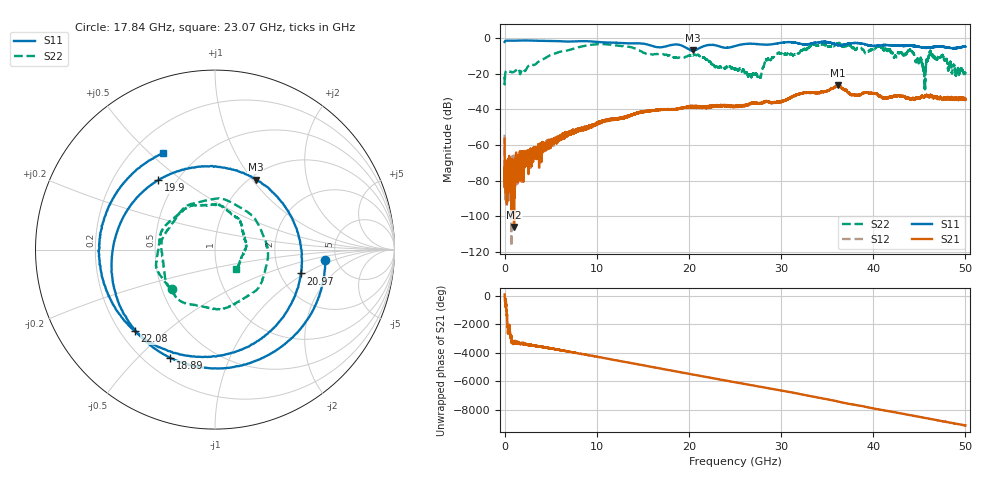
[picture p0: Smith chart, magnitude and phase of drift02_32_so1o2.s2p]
!Created with skrf (http://scikit-rf.org).
# Hz S RI R 50.0
!freq ReS11 ImS11 ReS21 ImS21 ReS12 ImS12 ReS22 ImS22
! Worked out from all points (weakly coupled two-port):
!   10001 points, 300 kHz to 50 GHz, reference 50 ohm
!   highest |S21| = -26.33 dB at 36.13 GHz (marker M1); lowest = -106.0 dB at 1.025 GHz (marker M2)
!   lowest |S11| = -6.9 dB at 20.4 GHz (marker M3), VSWR 2.64, Z = 53.2 + j51.9 ohm
!   |S11| at or under -10 dB: nowhere
!   |S22| runs from -28.7 to -2.6 dB; largest |S21 - S12| = 0.005
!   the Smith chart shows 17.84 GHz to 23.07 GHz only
!   S11 on the Smith chart (normalised r, x): 17.84 GHz: 4.07, -0.74; 18.89 GHz: 0.30, -0.63; 19.9 GHz: 0.40, +0.41; 20.97 GHz: 2.61, -0.92; 22.08 GHz: 0.26, -0.40; 23.07 GHz: 0.32, +0.55
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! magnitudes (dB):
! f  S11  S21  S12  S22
! 300 kHz  -2.2  -56.5  -54.2  -21.7
! 255.3 MHz  -1.4  -78.5  -86.8  -18.2
! 1.025 GHz  -1.5  -106.0  -68.3  -18.9
! 8.335 GHz  -1.7  -50.2  -50.7  -4.7
! 16.67 GHz  -5.2  -40.3  -40.4  -9.0
! 17.84 GHz  -4.2  -40.0  -40.0  -9.7
! 18.89 GHz  -3.7  -39.6  -39.7  -10.9
! 19.9 GHz  -6.0  -38.7  -38.6  -9.9
! 20.4 GHz  -6.9  -38.3  -38.4  -9.7
! 20.97 GHz  -6.1  -38.5  -38.4  -9.3
! 22.08 GHz  -3.9  -39.1  -38.6  -12.6
! 23.07 GHz  -4.3  -38.3  -38.0  -15.8
! 25 GHz  -4.5  -38.2  -38.3  -17.6
! 27.62 GHz  -3.5  -36.8  -36.7  -21.7
! 29.54 GHz  -3.1  -35.8  -36.0  -8.8
! 33.34 GHz  -3.0  -30.5  -30.6  -3.8
! 36.13 GHz  -3.9  -26.3  -27.0  -3.3
! 41.67 GHz  -3.9  -33.2  -33.3  -6.3
! 44.12 GHz  -4.1  -34.5  -34.4  -7.1
! 45.5 GHz  -5.4  -33.4  -33.0  -18.1
! 46.25 GHz  -5.2  -32.3  -32.3  -8.2
! 50 GHz  -4.8  -34.7  -33.9  -19.7
